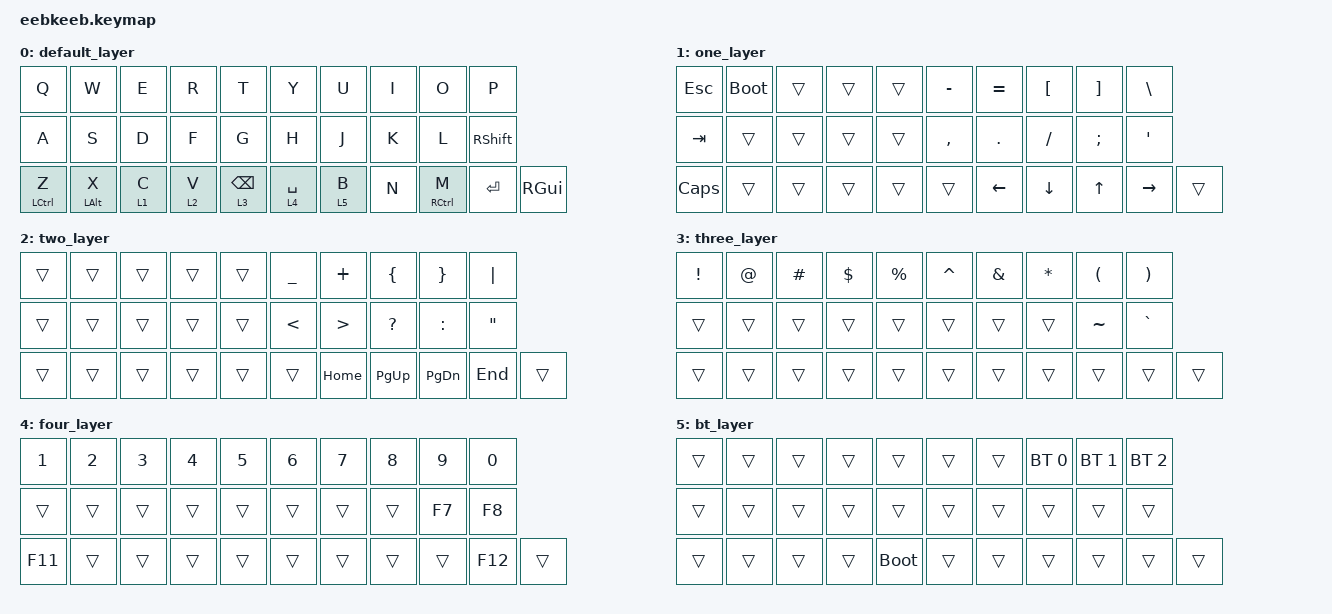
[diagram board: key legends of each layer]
#include <behaviors.dtsi>
#include <dt-bindings/zmk/keys.h>
#include <dt-bindings/zmk/bt.h>

&led_strip {
    chain-length = <31>;
};

&lt {
    quick-tap-ms = <200>;
};



/ {
behaviors {
  ht: hold_tap {
    label = "hold_tap";
    compatible = "zmk,behavior-hold-tap";
    #binding-cells = <2>;
    flavor = "tap-preferred";
    tapping-term-ms = <220>;
    quick-tap-ms = <150>;
    global-quick-tap;
    bindings = <&kp>, <&kp>;
  };
};


    keymap {
        compatible = "zmk,keymap";



        default_layer {
            bindings = <
                &kp Q         &kp W        &kp E     &kp R     &kp T        &kp Y         &kp U     &kp I     &kp O         &kp P
                &kp A         &kp S        &kp D     &kp F     &kp G        &kp H         &kp J     &kp K     &kp L         &kp RSHIFT
                &mt LCTRL Z   &mt LALT X   &lt 1 C   &lt 2 V   &lt 3 BSPC   &lt 4 SPACE   &lt 5 B   &kp N     &mt RCTRL M   &kp ENTER     &kp RGUI
            >;
        };
        one_layer {
            bindings = <
                &kp ESC     &bootloader     &trans     &trans     &trans     &kp MINUS     &kp EQUAL     &kp LBKT     &kp RBKT     &kp BSLH
                &kp TAB     &trans          &trans     &trans     &trans     &kp COMMA     &kp DOT       &kp FSLH     &kp SEMI     &kp SINGLE_QUOTE
                &kp CLCK    &trans          &trans     &trans     &trans     &trans        &kp LEFT      &kp DOWN     &kp UP       &kp RIGHT            &trans
            >;
        };
////////////////////////////////////////////////////////////////////////////////////////////////////////////////////////////////////////////////////////////////////
        two_layer {
            bindings = <
                &trans     &trans     &trans     &trans     &trans     &kp UNDER     &kp PLUS     &kp LBRC     &kp RBRC     &kp PIPE
                &trans     &trans     &trans     &trans     &trans     &kp LT        &kp GT       &kp QMARK    &kp COLON    &kp DQT
                &trans     &trans     &trans     &trans     &trans     &trans        &kp HOME     &kp PG_UP    &kp PG_DN    &kp END     &trans
            >;
        };

        three_layer {
            bindings = <
                &kp EXCL       &kp AT     &kp POUND     &kp DLLR       &kp PRCNT     &kp CARET     &kp AMPS     &kp ASTRK    &kp LPAR     &kp RPAR
                &trans        &trans     &trans        &trans         &trans        &trans        &trans       &trans       &kp TILDE    &kp GRAVE
                &trans        &trans     &trans        &trans         &trans        &trans        &trans       &trans       &trans       &trans        &trans
            >;
        };
////////////////////////////////////////////////////////////////////////////////////////////////////////////////////////////////////////////////////////////////////
        four_layer {
            bindings = <
                &kp N1     &kp N2     &kp N3     &kp N4     &kp N5     &kp N6     &kp N7     &kp N8     &kp N9     &kp N0
                &trans     &trans     &trans     &trans     &trans     &trans     &trans     &trans     &kp F7     &kp F8
                &kp F11    &trans     &trans     &trans     &trans     &trans     &trans     &trans     &trans     &kp F12     &trans
            >;
        };
        bt_layer {
            bindings = <
                &trans     &trans     &trans     &trans     &trans          &trans     &trans     &bt BT_SEL 0     &bt BT_SEL 1     &bt BT_SEL 2
                &trans     &trans     &trans     &trans     &trans          &trans     &trans     &trans           &trans           &trans
                &trans     &trans     &trans     &trans     &bootloader     &trans     &trans     &trans           &trans           &trans         &trans
            >;
        };
    };
};
